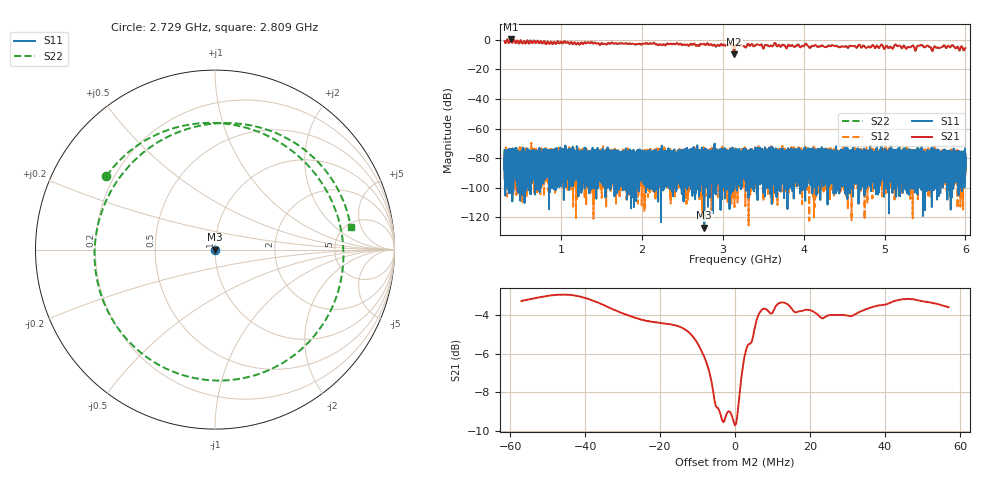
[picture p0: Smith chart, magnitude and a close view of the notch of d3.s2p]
!Agilent Technologies,N5230C,SG49000117,A.08.50.07
!Agilent N5230C: A.08.50.07
!Date: Monday, March 18, 2024 19:19:28
!Correction: S11(Off)
!S21(Off)
!S12(Off)
!S22(Off)
!S2P File: Measurements: S11, S21, S12, S22:
# Hz S  RI  R 50
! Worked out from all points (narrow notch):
!   20001 points, 300 MHz to 6 GHz, reference 50 ohm
!   highest |S21| = 0.45 dB at 373.8 MHz (marker M1); lowest = -9.7 dB at 3.141 GHz (marker M2)
!   notch at M2: 6.2 dB deep, 9.52 MHz wide at half that depth
!   lowest |S11| = -126.9 dB at 2.77 GHz (marker M3), VSWR 1.00, Z = 50 + j4.22e-05 ohm
!   |S11| at or under -10 dB: start of sweep to end of sweep
!   |S22| runs from -9.7 to 0.5 dB; largest |S21 - S12| = 1.1
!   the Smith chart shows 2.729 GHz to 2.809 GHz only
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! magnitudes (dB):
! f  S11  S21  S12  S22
! 300 MHz  -94.1  -0.9  -87.1  -0.9
! 373.8 MHz  -92.2  0.4  -82.6  0.5
! 1.25 GHz  -78.4  -1.7  -85.7  -1.7
! 2.2 GHz  -85.1  -3.7  -79.0  -3.6
! 2.77 GHz  -126.9  -2.8  -74.1  -2.8
! 3.081 GHz  -97.1  -3.4  -85.8  -3.4
! 3.141 GHz  -81.9  -9.7  -81.5  -9.7
! 3.15 GHz  -78.3  -3.9  -88.7  -3.9
! 3.175 GHz  -102.0  -3.8  -84.2  -3.7
! 3.267 GHz  -77.7  -4.4  -82.0  -4.4
! 3.334 GHz  -87.5  -4.1  -77.9  -4.1
! 3.781 GHz  -77.6  -5.6  -81.1  -5.5
! 4.029 GHz  -75.9  -2.8  -78.4  -2.7
! 4.1 GHz  -78.2  -4.2  -85.8  -4.1
! 5.05 GHz  -77.7  -5.6  -93.1  -5.5
! 5.15 GHz  -85.0  -3.8  -93.1  -3.8
! 5.386 GHz  -79.6  -7.0  -76.2  -7.0
! 5.445 GHz  -84.1  -3.6  -81.4  -3.7
! 5.543 GHz  -78.7  -4.3  -81.6  -4.3
! 5.585 GHz  -77.4  -7.0  -81.7  -7.0
! 5.836 GHz  -87.6  -3.6  -84.9  -3.7
! 6 GHz  -86.2  -5.6  -80.6  -5.6
